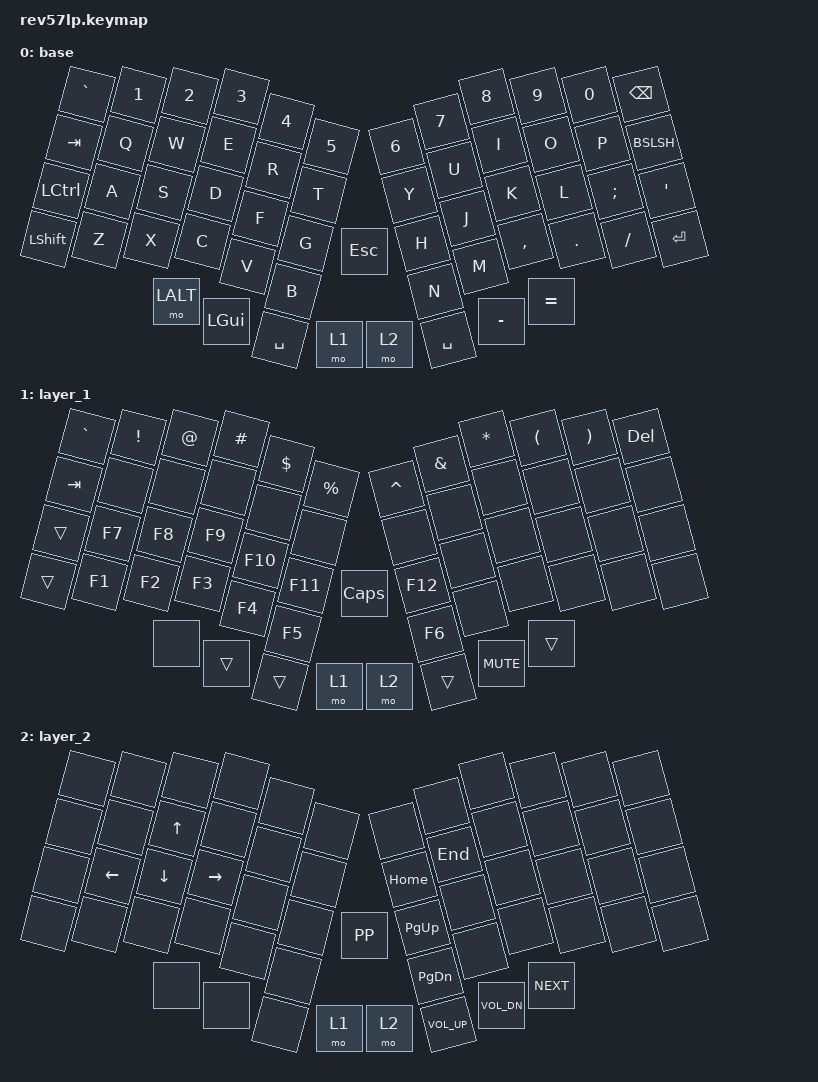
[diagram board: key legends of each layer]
/*
 * Copyright (c) 2022 The ZMK Contributors
 *
 * SPDX-License-Identifier: MIT
 */

#include <behaviors.dtsi>
#include <dt-bindings/zmk/keys.h>
#include <dt-bindings/zmk/bt.h>
#include <dt-bindings/zmk/outputs.h>
#include <dt-bindings/zmk/rgb.h>

#define BASE    0
#define LOWER   1
#define RAISE      2

/ {
    combos {
        compatible = "zmk,combos";

        combo_BOOT {
            timeout-ms = <50>;
            key-positions = <4 5 6 7>;
            bindings = <&bootloader>;
        };

        combo_BT {
            timeout-ms = <50>;
            key-positions = <49 56>;
            bindings = <&bt BT_SEL 0>;
        };
    
        combo_UNLOCK {
            timeout-ms = <50>;
            key-positions = <52 53>;
            bindings = <&studio_unlock>;
        };
    };

    keymap {
        compatible = "zmk,keymap";

        base {
            bindings = <
                &kp GRAVE    &kp N1     &kp N2    &kp N3    &kp N4     &kp N5                           &kp N6     &kp N7     &kp N8     &kp N9    &kp N0     &kp BSPC
                &kp TAB      &kp Q      &kp W     &kp E     &kp R      &kp T                            &kp Y      &kp U      &kp I      &kp O     &kp P      &kp BSLSH
                &kp LCTRL    &kp A      &kp S     &kp D     &kp F      &kp G          &kp ESC           &kp H      &kp J      &kp K      &kp L     &kp SEMI   &kp SQT
                &kp LSHIFT   &kp Z      &kp X     &kp C     &kp V      &kp B                            &kp N      &kp M      &kp COMMA  &kp DOT   &kp SLASH  &kp RET
                                                  &mo LALT  &kp LGUI   &kp SPACE  &mo 1  &mo 2  &kp SPACE  &kp MINUS   &kp EQUAL
                >;
        };

        layer_1 {
            bindings = <
                &kp GRAVE  &kp EXCL  &kp AT   &kp HASH  &kp DLLR  &kp PRCNT                           &kp CARET  &kp AMPS   &kp ASTRK  &kp LPAR   &kp RPAR  &kp DEL
                &kp TAB     &none    &none    &none     &none     &none                               &none      &none  &none  &none  &none  &none
                &trans     &kp F7    &kp F8   &kp F9    &kp F10   &kp F11         &kp CAPS            &kp F12    &none  &none  &none  &none  &none
                &trans     &kp F1    &kp F2   &kp F3    &kp F4    &kp F5                              &kp F6     &none  &none  &none  &none  &none
                                              &none     &trans    &trans     &mo 1  &mo 2     &trans     &kp MUTE &trans
                >;
        };

        layer_2 {
            bindings = <
                &none   &none    &none         &none         &none         &none                       &none     &none            &none  &none  &none  &none
                &none   &none    &kp UP        &none         &none         &none                       &kp HOME  &kp END         &none  &none  &none  &none
                &none   &kp LEFT &kp DOWN      &kp RIGHT     &none         &none     &kp K_PP          &kp PG_UP &none           &none  &none  &none  &none
                &none   &none    &none         &none         &none         &none                       &kp PG_DN &none &none  &none  &none  &none
                                               &none         &none         &none  &mo 1  &mo 2 &kp K_VOL_UP  &kp K_VOL_DN &kp K_NEXT
                >;
        };
    };
};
